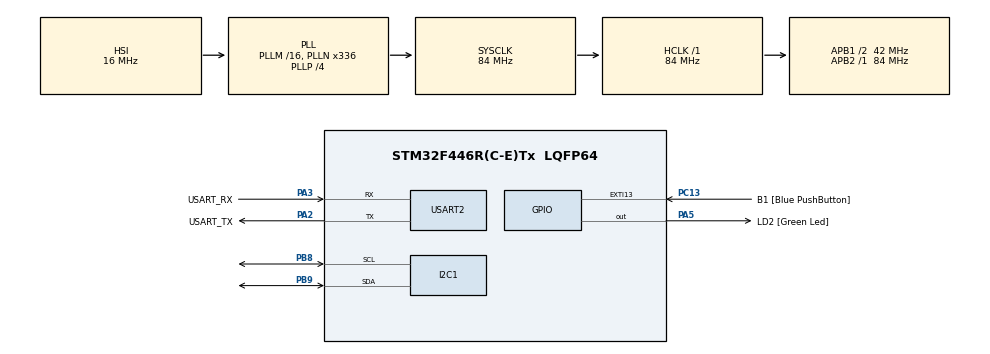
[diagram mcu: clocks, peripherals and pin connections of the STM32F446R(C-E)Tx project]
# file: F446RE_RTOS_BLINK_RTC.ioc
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FREERTOS.Tasks01=BLINK,16,128,Toggle_Led,Default,NULL,Dynamic,NULL,NULL;RTC,24,128,Read_RTC,Default,NULL,Dynamic,NULL,NULL
FREERTOS.configUSE_NEWLIB_REENTRANT=1
Mcu.Family=STM32F4
Mcu.Name=STM32F446R(C-E)Tx
Mcu.Package=LQFP64
NVIC.PriorityGroup=NVIC_PRIORITYGROUP_4
NVIC.TIM6_DAC_IRQn=true\:15\:0\:false\:false\:true\:false\:false\:true\:true
NVIC.TimeBase=TIM6_DAC_IRQn
NVIC.TimeBaseIP=TIM6
PA13.GPIO_Label=TMS
PA13.Mode=Serial_Wire
PA13.Signal=SYS_JTMS-SWDIO
PA14.GPIO_Label=TCK
PA14.Mode=Serial_Wire
PA14.Signal=SYS_JTCK-SWCLK
PA2.GPIO_Label=USART_TX
PA2.Mode=Asynchronous
PA2.Signal=USART2_TX
PA3.GPIO_Label=USART_RX
PA3.Mode=Asynchronous
PA3.Signal=USART2_RX
PA5.GPIO_Label=LD2 [Green Led]
PA5.Signal=GPIO_Output
PB3.GPIO_Label=SWO
PB3.Signal=SYS_JTDO-SWO
PB8.Mode=I2C
PB8.Signal=I2C1_SCL
PB9.Mode=I2C
PB9.Signal=I2C1_SDA
PC13.GPIO_Label=B1 [Blue PushButton]
PC13.GPIO_ModeDefaultEXTI=GPIO_MODE_IT_FALLING
PC13.Signal=GPXTI13
PC14-OSC32_IN.Mode=LSE-External-Oscillator
PC14-OSC32_IN.Signal=RCC_OSC32_IN
PC15-OSC32_OUT.Mode=LSE-External-Oscillator
PC15-OSC32_OUT.Signal=RCC_OSC32_OUT
PH0-OSC_IN.Mode=HSE-External-Oscillator
PH0-OSC_IN.Signal=RCC_OSC_IN
PH1-OSC_OUT.Mode=HSE-External-Oscillator
PH1-OSC_OUT.Signal=RCC_OSC_OUT
ProjectManager.HeapSize=0x200
ProjectManager.StackSize=0x400
ProjectManager.TargetToolchain=STM32CubeIDE
RCC.48MHZClocksFreq_Value=84000000
RCC.AHBFreq_Value=84000000
RCC.APB1CLKDivider=RCC_HCLK_DIV2
RCC.APB1Freq_Value=42000000
RCC.APB1TimFreq_Value=84000000
RCC.APB2Freq_Value=84000000
RCC.APB2TimFreq_Value=84000000
RCC.CortexFreq_Value=84000000
RCC.FLatency-AdvancedSettings=FLASH_LATENCY_2
RCC.HCLKFreq_Value=84000000
RCC.HSE_VALUE=8000000
RCC.HSI_VALUE=16000000
RCC.PLLN=336
RCC.PLLP=RCC_PLLP_DIV4
RCC.SYSCLKFreq_VALUE=84000000
RCC.SYSCLKSource=RCC_SYSCLKSOURCE_PLLCLK
RCC.USBFreq_Value=168000000
RCC.VCOOutputFreq_Value=336000000
USART2.VirtualMode=VM_ASYNC
VP_FREERTOS_VS_CMSIS_V2.Mode=CMSIS_V2
VP_SYS_VS_tim6.Mode=TIM6
board=NUCLEO-F446RE

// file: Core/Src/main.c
/* USER CODE BEGIN Header */
/**
  ******************************************************************************
  * @file           : main.c
  * @brief          : Main program body
  ******************************************************************************
  * @attention
  *
  * Copyright (c) 2022 STMicroelectronics.
  * All rights reserved.
  *
  * This software is licensed under terms that can be found in the LICENSE file
  * in the root directory of this software component.
  * If no LICENSE file comes with this software, it is provided AS-IS.
  *
  ******************************************************************************
  */
/* USER CODE END Header */
#include "main.h"
#include "cmsis_os.h"

/* USER CODE BEGIN Includes */
#include <string.h>
#include <stdio.h>

/* USER CODE END Includes */

I2C_HandleTypeDef hi2c1;

UART_HandleTypeDef huart2;

/* Definitions for BLINK */
osThreadId_t BLINKHandle;
const osThreadAttr_t BLINK_attributes = {
  .name = "BLINK",
  .stack_size = 128 * 4,
  .priority = (osPriority_t) osPriorityBelowNormal,
};
/* Definitions for RTC */
osThreadId_t RTCHandle;
const osThreadAttr_t RTC_attributes = {
  .name = "RTC",
  .stack_size = 128 * 4,
  .priority = (osPriority_t) osPriorityNormal,
};
/* USER CODE BEGIN PV */
static const uint8_t RTC_ADDR = 0x68 << 1;		// Direccion esclavo, desplazado 1 bit a izq.
static const uint8_t REG_TIME = 0x03;			// Registro del RTC - Segundos

/* USER CODE END PV */

void SystemClock_Config(void);
static void MX_GPIO_Init(void);
static void MX_USART2_UART_Init(void);
static void MX_I2C1_Init(void);
void Toggle_Led(void *argument);
void Read_RTC(void *argument);

int main(void)
{

  /* MCU Configuration--------------------------------------------------------*/

  /* Reset of all peripherals, Initializes the Flash interface and the Systick. */
  HAL_Init();

  /* Configure the system clock */
  SystemClock_Config();

  /* Initialize all configured peripherals */
  MX_GPIO_Init();
  MX_USART2_UART_Init();
  MX_I2C1_Init();

  /* Init scheduler */
  osKernelInitialize();

  /* Create the thread(s) */
  /* creation of BLINK */
  BLINKHandle = osThreadNew(Toggle_Led, NULL, &BLINK_attributes);

  /* creation of RTC */
  RTCHandle = osThreadNew(Read_RTC, NULL, &RTC_attributes);

  /* Start scheduler */
  osKernelStart();

  /* We should never get here as control is now taken by the scheduler */
  /* Infinite loop */
  while (1)
  {

  }
}

void SystemClock_Config(void)
{
  RCC_OscInitTypeDef RCC_OscInitStruct = {0};
  RCC_ClkInitTypeDef RCC_ClkInitStruct = {0};

  /** Configure the main internal regulator output voltage
  */
  __HAL_RCC_PWR_CLK_ENABLE();
  __HAL_PWR_VOLTAGESCALING_CONFIG(PWR_REGULATOR_VOLTAGE_SCALE3);

  /** Initializes the RCC Oscillators according to the specified parameters
  * in the RCC_OscInitTypeDef structure.
  */
  RCC_OscInitStruct.OscillatorType = RCC_OSCILLATORTYPE_HSI;
  RCC_OscInitStruct.HSIState = RCC_HSI_ON;
  RCC_OscInitStruct.HSICalibrationValue = RCC_HSICALIBRATION_DEFAULT;
  RCC_OscInitStruct.PLL.PLLState = RCC_PLL_ON;
  RCC_OscInitStruct.PLL.PLLSource = RCC_PLLSOURCE_HSI;
  RCC_OscInitStruct.PLL.PLLM = 16;
  RCC_OscInitStruct.PLL.PLLN = 336;
  RCC_OscInitStruct.PLL.PLLP = RCC_PLLP_DIV4;
  RCC_OscInitStruct.PLL.PLLQ = 2;
  RCC_OscInitStruct.PLL.PLLR = 2;
  if (HAL_RCC_OscConfig(&RCC_OscInitStruct) != HAL_OK)
  {
    Error_Handler();
  }

  /** Initializes the CPU, AHB and APB buses clocks
  */
  RCC_ClkInitStruct.ClockType = RCC_CLOCKTYPE_HCLK|RCC_CLOCKTYPE_SYSCLK
                              |RCC_CLOCKTYPE_PCLK1|RCC_CLOCKTYPE_PCLK2;
  RCC_ClkInitStruct.SYSCLKSource = RCC_SYSCLKSOURCE_PLLCLK;
  RCC_ClkInitStruct.AHBCLKDivider = RCC_SYSCLK_DIV1;
  RCC_ClkInitStruct.APB1CLKDivider = RCC_HCLK_DIV2;
  RCC_ClkInitStruct.APB2CLKDivider = RCC_HCLK_DIV1;

  if (HAL_RCC_ClockConfig(&RCC_ClkInitStruct, FLASH_LATENCY_2) != HAL_OK)
  {
    Error_Handler();
  }
}

static void MX_I2C1_Init(void)
{

  hi2c1.Instance = I2C1;
  hi2c1.Init.ClockSpeed = 100000;
  hi2c1.Init.DutyCycle = I2C_DUTYCYCLE_2;
  hi2c1.Init.OwnAddress1 = 0;
  hi2c1.Init.AddressingMode = I2C_ADDRESSINGMODE_7BIT;
  hi2c1.Init.DualAddressMode = I2C_DUALADDRESS_DISABLE;
  hi2c1.Init.OwnAddress2 = 0;
  hi2c1.Init.GeneralCallMode = I2C_GENERALCALL_DISABLE;
  hi2c1.Init.NoStretchMode = I2C_NOSTRETCH_DISABLE;
  if (HAL_I2C_Init(&hi2c1) != HAL_OK)
  {
    Error_Handler();
  }

}

static void MX_USART2_UART_Init(void)
{

  huart2.Instance = USART2;
  huart2.Init.BaudRate = 115200;
  huart2.Init.WordLength = UART_WORDLENGTH_8B;
  huart2.Init.StopBits = UART_STOPBITS_1;
  huart2.Init.Parity = UART_PARITY_NONE;
  huart2.Init.Mode = UART_MODE_TX_RX;
  huart2.Init.HwFlowCtl = UART_HWCONTROL_NONE;
  huart2.Init.OverSampling = UART_OVERSAMPLING_16;
  if (HAL_UART_Init(&huart2) != HAL_OK)
  {
    Error_Handler();
  }

}

static void MX_GPIO_Init(void)
{
  GPIO_InitTypeDef GPIO_InitStruct = {0};

  /* GPIO Ports Clock Enable */
  __HAL_RCC_GPIOC_CLK_ENABLE();
  __HAL_RCC_GPIOH_CLK_ENABLE();
  __HAL_RCC_GPIOA_CLK_ENABLE();
  __HAL_RCC_GPIOB_CLK_ENABLE();

  /*Configure GPIO pin Output Level */
  HAL_GPIO_WritePin(LD2_GPIO_Port, LD2_Pin, GPIO_PIN_RESET);

  /*Configure GPIO pin : B1_Pin */
  GPIO_InitStruct.Pin = B1_Pin;
  GPIO_InitStruct.Mode = GPIO_MODE_IT_FALLING;
  GPIO_InitStruct.Pull = GPIO_NOPULL;
  HAL_GPIO_Init(B1_GPIO_Port, &GPIO_InitStruct);

  /*Configure GPIO pin : LD2_Pin */
  GPIO_InitStruct.Pin = LD2_Pin;
  GPIO_InitStruct.Mode = GPIO_MODE_OUTPUT_PP;
  GPIO_InitStruct.Pull = GPIO_NOPULL;
  GPIO_InitStruct.Speed = GPIO_SPEED_FREQ_LOW;
  HAL_GPIO_Init(LD2_GPIO_Port, &GPIO_InitStruct);

}

void Toggle_Led(void *argument)
{
  /* USER CODE BEGIN 5 */
  /* Infinite loop */
  for(;;)
  {
	HAL_GPIO_TogglePin(GPIOA, GPIO_PIN_5);
    osDelay(500);
  }

  osThreadTerminate(NULL);
  /* USER CODE END 5 */
}

void Read_RTC(void *argument)
{
  /* USER CODE BEGIN Read_RTC */
	HAL_StatusTypeDef ret;
	uint8_t buf[24];
	uint8_t ini_time[] = {REG_TIME, 0x00, 0x00, 0x00};

	ret = HAL_I2C_Master_Transmit(&hi2c1, RTC_ADDR, ini_time, 4, 100);
	if (ret != HAL_OK) {
		strcpy((char*)buf, "Error Inicializacion\r\n");
		HAL_UART_Transmit(&huart2, buf, strlen((char*)buf), HAL_MAX_DELAY);		// transmito el mensaje de error
	}
  /* Infinite loop */
  for(;;)
  {
	ret = HAL_I2C_Mem_Read(&hi2c1, RTC_ADDR, REG_TIME, 1, buf, 3, 100);
	if (ret != HAL_OK) {
		strcpy((char*)buf, "Error Rx\r\n");
		HAL_UART_Transmit(&huart2, buf, strlen((char*)buf), HAL_MAX_DELAY);		// transmito el error de recepcion
	} else {
		sprintf((char*)buf, "%02x:%02x:%02x\r\n", buf[2] & 0x3F, buf[1] & 0x7F, buf[0] & 0x7F);
		HAL_UART_Transmit(&huart2, buf, strlen((char*)buf), HAL_MAX_DELAY);
	}
    osDelay(1000);
  }

  osThreadTerminate(NULL);
  /* USER CODE END Read_RTC */
}

void HAL_TIM_PeriodElapsedCallback(TIM_HandleTypeDef *htim)
{
  if (htim->Instance == TIM6) {
    HAL_IncTick();
  }
}

void Error_Handler(void)
{
  __disable_irq();
  while (1)
  {
  }
}
